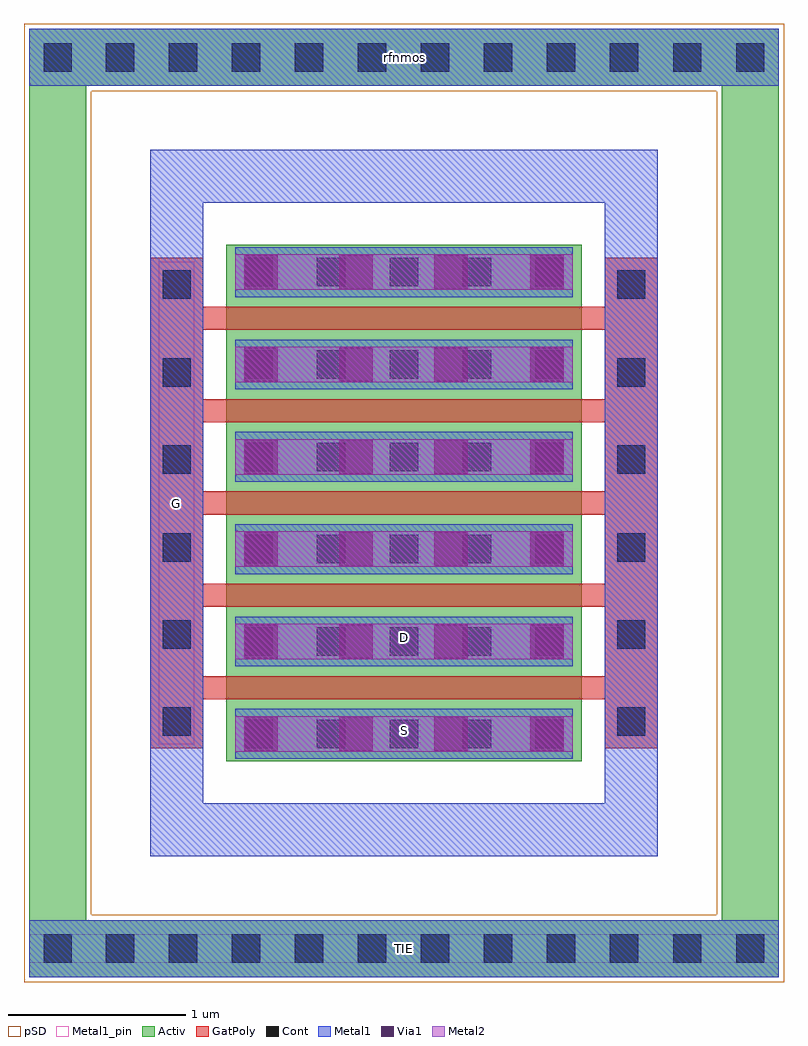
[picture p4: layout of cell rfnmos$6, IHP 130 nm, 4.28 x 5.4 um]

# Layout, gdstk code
import gdstk
lib = gdstk.Library(unit=1e-6, precision=5e-09)
def R(c, l, rs):  # rectangles x0, y0, x1, y1
    for r in rs: c.add(gdstk.rectangle(r[:2], r[2:], *l))
def A(c, l, x, y, w, h, nx, ny, dx, dy):  # array of equal rectangles
    R(c, l, [(x+i*dx, y+j*dy, x+i*dx+w, y+j*dy+h) for i in range(nx) for j in range(ny)])
def P(c, l, *ps):  # polygons
    for p in ps: c.add(gdstk.Polygon(p, *l))
Activ = (1, 0)
GatPoly = (5, 0)
Cont = (6, 0)
Metal1 = (8, 0)
Metal1_pin = (8, 2)
Metal2 = (10, 0)
pSD = (14, 0)
Via1 = (19, 0)

rfnmos_6 = lib.new_cell('rfnmos$6')
R(rfnmos_6, Activ, [(1.14,1.245,3.14,4.155)])
P(rfnmos_6, Activ, [(0.03,0.03),(0.03,5.05),(0.35,5.05),(0.35,0.35),(3.93,0.35),(3.93,5.05),(0.03,5.05),(0.03,5.37),(4.25,5.37),(4.25,0.03)])
A(rfnmos_6, GatPoly, 1.01, 1.595, 2.26, 0.13, 1, 5, 0, 0.52)
R(rfnmos_6, GatPoly, [(0.71,1.32,1.01,4.08), (3.27,1.32,3.57,4.08)])
A(rfnmos_6, Cont, 0.46, 0.11, 0.16, 0.16, 11, 2, 0.355, 5.02)
A(rfnmos_6, Cont, 1.24, 1.32, 0.16, 0.16, 5, 6, 0.41, 0.52)
A(rfnmos_6, Cont, 0.78, 1.39, 0.16, 0.16, 1, 3, 0, 0.49)
A(rfnmos_6, Cont, 3.34, 1.39, 0.16, 0.16, 1, 3, 0, 0.49)
R(rfnmos_6, Cont, [(0.11,0.11,0.27,0.27), (0.78,2.865,0.94,3.025), (3.34,2.865,3.5,3.025), (0.78,3.355,0.94,3.515), (3.34,3.355,3.5,3.515), (0.78,3.85,0.94,4.01), (3.34,3.85,3.5,4.01), (0.11,5.13,0.27,5.29)])
A(rfnmos_6, Metal1, 1.19, 1.26, 1.9, 0.28, 1, 6, 0, 0.52)
R(rfnmos_6, Metal1, [(0.03,0.03,4.25,0.35), (0.76,1.34,0.96,4.06), (3.32,1.34,3.52,4.06), (0.03,5.05,4.25,5.37)])
P(rfnmos_6, Metal1, [(0.71,0.71),(0.71,4.39),(1.01,4.39),(1.01,1.01),(3.27,1.01),(3.27,4.39),(0.71,4.39),(0.71,4.69),(3.57,4.69),(3.57,0.71)])
R(rfnmos_6, Metal1_pin, [(0.03,0.11,4.25,0.27), (0.03,0.11,4.25,0.27), (1.19,1.26,3.09,1.54), (1.19,1.26,3.09,1.54), (0.76,1.34,0.96,4.06), (0.76,1.34,0.96,4.06), (1.19,1.78,3.09,2.06), (1.19,1.78,3.09,2.06)])
A(rfnmos_6, Metal2, 1.19, 1.3, 1.9, 0.2, 1, 6, 0, 0.52)
P(rfnmos_6, pSD, [(0,0),(0,5.02),(0.38,5.02),(0.38,0.38),(3.9,0.38),(3.9,5.02),(0,5.02),(0,5.4),(4.28,5.4),(4.28,0)])
A(rfnmos_6, Via1, 1.24, 1.305, 0.19, 0.19, 3, 6, 0.535, 0.52)
A(rfnmos_6, Via1, 2.85, 1.305, 0.19, 0.19, 1, 6, 0, 0.52)
rfnmos_6.add(gdstk.Label('S', (2.14,1.42), layer=63, texttype=0))
rfnmos_6.add(gdstk.Label('D', (2.14,1.94), layer=63, texttype=0))
rfnmos_6.add(gdstk.Label('G', (0.86,2.7), layer=63, texttype=0))
rfnmos_6.add(gdstk.Label('TIE', (2.14,0.19), layer=63, texttype=0))
rfnmos_6.add(gdstk.Label('rfnmos', (2.14,5.21), layer=63, texttype=0))

lib.write_gds('rfnmos_6.gds')
